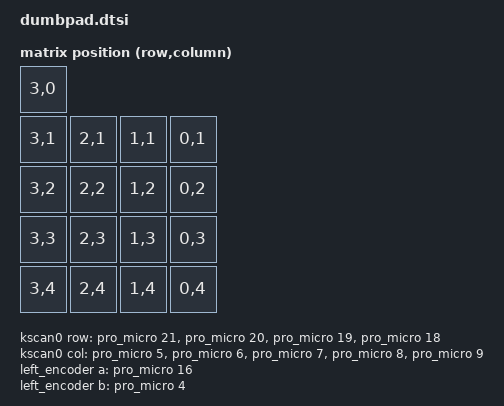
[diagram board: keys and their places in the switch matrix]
/*
 * Copyright (c) 2022 The ZMK Contributors
 *
 * SPDX-License-Identifier: MIT
 */

#include <dt-bindings/zmk/matrix_transform.h>
#include <dt-bindings/zmk/hid_indicators.h>

/ {
    chosen {
        zmk,kscan = &kscan0;
        zmk,matrix_transform = &default_transform;
    };

    kscan0: kscan {
		compatible = "zmk,kscan-gpio-matrix";
		label = "KSCAN";

		diode-direction = "col2row";

		row-gpios
			= <&pro_micro 21 (GPIO_ACTIVE_HIGH | GPIO_PULL_DOWN)>
			, <&pro_micro 20 (GPIO_ACTIVE_HIGH | GPIO_PULL_DOWN)>
			, <&pro_micro 19 (GPIO_ACTIVE_HIGH | GPIO_PULL_DOWN)>
			, <&pro_micro 18 (GPIO_ACTIVE_HIGH | GPIO_PULL_DOWN)>
			;

		col-gpios
			= <&pro_micro 5 (GPIO_ACTIVE_HIGH | GPIO_PULL_DOWN)>
			, <&pro_micro 6 (GPIO_ACTIVE_HIGH | GPIO_PULL_DOWN)>
			, <&pro_micro 7 (GPIO_ACTIVE_HIGH | GPIO_PULL_DOWN)>
			, <&pro_micro 8 (GPIO_ACTIVE_HIGH | GPIO_PULL_DOWN)>
			, <&pro_micro 9 (GPIO_ACTIVE_HIGH | GPIO_PULL_DOWN)>
			;

        wakeup-source;
	};

	default_transform: keymap_transform_0 {
		compatible = "zmk,matrix-transform";
		columns = <5>;
		rows = <4>;

		map = <
                    RC(3,0)
                    RC(3,1) RC(2,1) RC(1,1) RC(0,1)
                    RC(3,2) RC(2,2) RC(1,2) RC(0,2)
                    RC(3,3) RC(2,3) RC(1,3) RC(0,3)
                    RC(3,4) RC(2,4) RC(1,4) RC(0,4)
		>;
	};

	left_encoder: encoder_left {
		compatible = "alps,ec11";
		label = "LEFT_ENCODER";
		a-gpios = <&pro_micro 16 (GPIO_ACTIVE_HIGH | GPIO_PULL_UP)>;
		b-gpios = <&pro_micro 4  (GPIO_ACTIVE_HIGH | GPIO_PULL_UP)>;
		resolution = <4>;
        steps = <24>;
	};
    
    leds {
        compatible = "gpio-leds";

		led_0: led_0 {
			gpios = <&pro_micro 10 GPIO_ACTIVE_HIGH>;
		};

		led_1: led_1 {
			gpios = <&pro_micro 15 GPIO_ACTIVE_HIGH>;
		};

		led_2: led_2 {
			gpios = <&pro_micro 14 GPIO_ACTIVE_HIGH>;
		};
    };

	indicators {
		compatible = "zmk,indicator-leds";
		
		num_lock_indicator: num_lock {
            indicator = <HID_INDICATOR_NUM_LOCK>;
            leds = <&led_0>;
        };
	};
};
